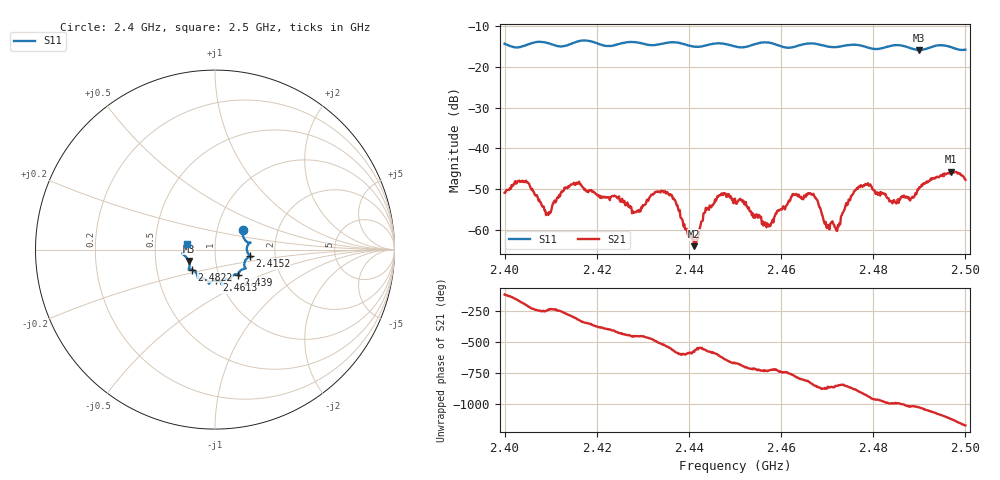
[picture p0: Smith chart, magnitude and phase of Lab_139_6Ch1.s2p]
# Hz S RI R 50
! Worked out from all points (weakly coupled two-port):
!   601 points, 2.4 GHz to 2.5 GHz, reference 50 ohm
!   highest |S21| = -45.72 dB at 2.4968 GHz (marker M1); lowest = -64.0 dB at 2.4412 GHz (marker M2)
!   lowest |S11| = -15.9 dB at 2.49 GHz (marker M3), VSWR 1.38, Z = 36.9 - j4.85 ohm
!   |S11| at or under -10 dB: start of sweep to end of sweep
!   S12 and S22 are empty: the file has one direction only
!   S11 on the Smith chart (normalised r, x): 2.4 GHz: 1.33, +0.31; 2.4152 GHz: 1.48, -0.11; 2.439 GHz: 1.24, -0.36; 2.4613 GHz: 0.96, -0.34; 2.4822 GHz: 0.76, -0.17; 2.5 GHz: 0.73, +0.05
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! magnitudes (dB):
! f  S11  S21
! 2.4 GHz  -14.4  -50.9
! 2.4048 GHz  -14.6  -48.3
! 2.4095 GHz  -14.2  -56.3
! 2.4152 GHz  -14.1  -48.7
! 2.4167 GHz  -13.6  -49.1
! 2.4282 GHz  -14.0  -55.7
! 2.4333 GHz  -14.6  -50.7
! 2.4365 GHz  -14.0  -52.3
! 2.439 GHz  -14.5  -58.6
! 2.4412 GHz  -15.1  -64.0
! 2.4465 GHz  -14.3  -51.5
! 2.45 GHz  -15.0  -52.3
! 2.4572 GHz  -14.1  -59.0
! 2.4613 GHz  -15.3  -53.8
! 2.4667 GHz  -14.3  -51.4
! 2.472 GHz  -15.2  -60.1
! 2.4768 GHz  -14.7  -49.4
! 2.4822 GHz  -15.4  -51.0
! 2.4833 GHz  -15.0  -52.3
! 2.49 GHz  -15.9  -49.5
! 2.4968 GHz  -15.2  -45.7
! 2.5 GHz  -15.8  -47.7
